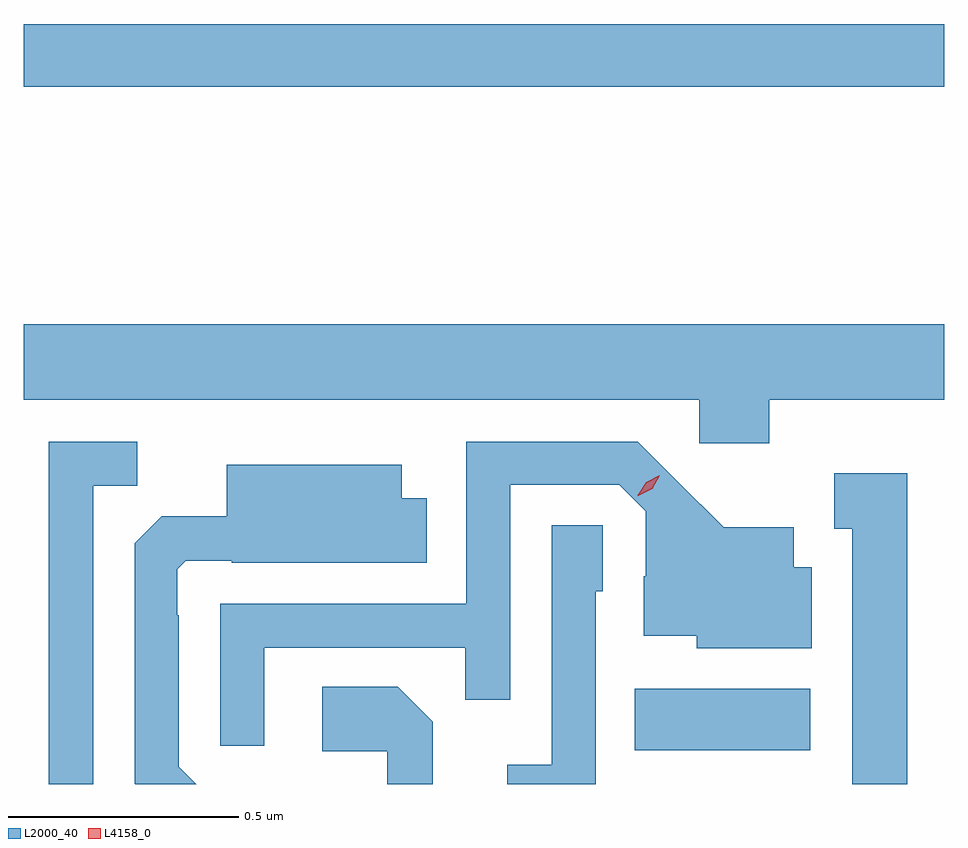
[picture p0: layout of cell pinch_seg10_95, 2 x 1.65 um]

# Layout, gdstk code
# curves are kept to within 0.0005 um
import gdstk
lib = gdstk.Library(unit=1e-6, precision=1e-09)
def R(c, l, rs):  # rectangles x0, y0, x1, y1
    for r in rs: c.add(gdstk.rectangle(r[:2], r[2:], *l))
def P(c, l, *ps):  # polygons
    for p in ps: c.add(gdstk.Polygon(p, *l))
L2000_40 = (2000, 40)
L4158_0 = (4158, 0)

pinch_seg10_95 = lib.new_cell('pinch_seg10_95')
R(pinch_seg10_95, L2000_40, [(725.224,1291.562,725.605,1291.696), (723.896,1293.004,725.896,1293.14)])
P(pinch_seg10_95, L2000_40, [(725.516,1292.324),(725.896,1292.324),(725.896,1292.488),(723.896,1292.488),(723.896,1292.324),(725.364,1292.324),(725.364,1292.229),(725.516,1292.229)],
  [(724.047,1292.137),(724.143,1292.137),(724.143,1292.232),(723.951,1292.232),(723.951,1291.489),(724.047,1291.489)],
  [(724.419,1291.785),(724.855,1291.785),(724.855,1291.672),(724.953,1291.672),(724.953,1292.139),(725.19,1292.139),(725.247,1292.082),(725.247,1291.94),(725.243,1291.94),(725.243,1291.811),(725.358,1291.811),(725.358,1291.784),(725.608,1291.784),(725.608,1291.96),(725.569,1291.96),(725.569,1292.047),(725.417,1292.047),(725.23,1292.232),(724.857,1292.232),(724.857,1291.881),(724.323,1291.881),(724.323,1291.572),(724.419,1291.572)],
  [(724.233,1291.527),(724.233,1291.856),(724.23,1291.856),(724.23,1291.956),(724.248,1291.974),(724.348,1291.974),(724.348,1291.97),(724.772,1291.97),(724.772,1292.11),(724.717,1292.11),(724.717,1292.182),(724.337,1292.182),(724.337,1292.071),(724.196,1292.071),(724.137,1292.012),(724.137,1291.49),(724.138,1291.489),(724.271,1291.489)],
  [(725.815,1292.164),(725.657,1292.164),(725.657,1292.043),(725.696,1292.043),(725.696,1291.489),(725.815,1291.489)],
  [(725.139,1291.908),(725.154,1291.908),(725.154,1292.051),(725.043,1292.051),(725.043,1291.531),(724.947,1291.531),(724.947,1291.489),(725.139,1291.489)],
  [(724.785,1291.624),(724.709,1291.7),(724.545,1291.7),(724.545,1291.56),(724.686,1291.56),(724.686,1291.489),(724.785,1291.489)])
P(pinch_seg10_95, L4158_0, [(725.23,1292.115),(725.23,1292.116),(725.248,1292.145),(725.278,1292.16),(725.278,1292.16),(725.278,1292.16),(725.261,1292.13),(725.231,1292.115)])

lib.write_gds('pinch_seg10_95.gds')
